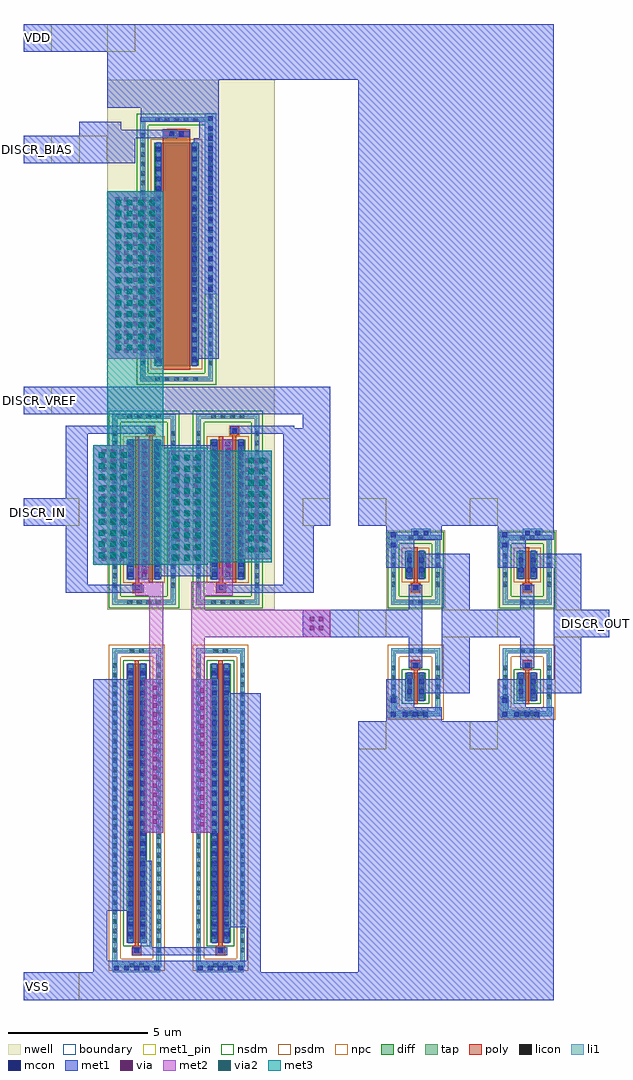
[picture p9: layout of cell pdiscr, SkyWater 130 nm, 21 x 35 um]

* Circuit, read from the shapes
.subckt pdiscr DISCR_BIAS DISCR_IN DISCR_OUT DISCR_VREF VDD VSS
XM1 n1 n1 VSS VSS sky130_fd_pr__nfet_01v8 w=10 l=0.15
XM2 VSS n1 amp_p_2/AMP_OUT VSS sky130_fd_pr__nfet_01v8 w=10 l=0.15
XM3 inv_x1_0/INV_IN amp_p_2/AMP_OUT VSS VSS sky130_fd_pr__nfet_01v8 w=1 l=0.15
XM4 DISCR_OUT inv_x1_0/INV_IN VSS VSS sky130_fd_pr__nfet_01v8 w=1 l=0.15
XM5 n1 DISCR_IN n2 VDD sky130_fd_pr__pfet_01v8 w=5 l=0.15 m=2
XM6 VDD DISCR_BIAS n2 VDD sky130_fd_pr__pfet_01v8 w=8 l=1
XM7 amp_p_2/AMP_OUT DISCR_VREF n2 VDD sky130_fd_pr__pfet_01v8 w=5 l=0.15 m=2
XM8 inv_x1_0/INV_IN amp_p_2/AMP_OUT VDD VDD sky130_fd_pr__pfet_01v8 w=1 l=0.15
XM9 DISCR_OUT inv_x1_0/INV_IN VDD VDD sky130_fd_pr__pfet_01v8 w=1 l=0.15
.ends

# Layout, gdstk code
import gdstk
lib = gdstk.Library(unit=1e-6, precision=1e-09)
def R(c, l, rs):  # rectangles x0, y0, x1, y1
    for r in rs: c.add(gdstk.rectangle(r[:2], r[2:], *l))
def A(c, l, x, y, w, h, nx, ny, dx, dy):  # array of equal rectangles
    R(c, l, [(x+i*dx, y+j*dy, x+i*dx+w, y+j*dy+h) for i in range(nx) for j in range(ny)])
nwell = (64, 20)
diff = (65, 20)
tap = (65, 44)
poly = (66, 20)
licon = (66, 44)
li1 = (67, 20)
mcon = (67, 44)
met1_pin = (68, 16)
met1 = (68, 20)
via = (68, 44)
met2 = (69, 20)
via2 = (69, 44)
met3 = (70, 20)
nsdm = (93, 44)
psdm = (94, 20)
npc = (95, 20)
boundary = (235, 4)

sky130_fd_pr__nfet_01v8_ = lib.new_cell('sky130_fd_pr__nfet_01v8_64Z3AY')
R(sky130_fd_pr__nfet_01v8_, diff, [(-0.365,-0.655,0.365,0.345)])
R(sky130_fd_pr__nfet_01v8_, tap, [(-0.875,-1.215,0.875,-1.045), (-0.875,-1.045,-0.705,1.045), (0.705,-1.045,0.875,1.045), (-0.875,1.045,0.875,1.215)])
R(sky130_fd_pr__nfet_01v8_, poly, [(-0.075,-0.785,0.075,0.455), (-0.165,0.455,0.165,0.785)])
A(sky130_fd_pr__nfet_01v8_, licon, -0.875, -0.595, 0.17, 0.17, 1, 4, 0, 0.34)
A(sky130_fd_pr__nfet_01v8_, licon, 0.705, -0.595, 0.17, 0.17, 1, 4, 0, 0.34)
A(sky130_fd_pr__nfet_01v8_, licon, -0.305, -0.58, 0.17, 0.17, 1, 3, 0, 0.34)
A(sky130_fd_pr__nfet_01v8_, licon, 0.135, -0.58, 0.17, 0.17, 1, 3, 0, 0.34)
R(sky130_fd_pr__nfet_01v8_, licon, [(-0.255,-1.215,-0.085,-1.045), (0.085,-1.215,0.255,-1.045), (-0.085,0.535,0.085,0.705), (-0.255,1.045,-0.085,1.215), (0.085,1.045,0.255,1.215)])
R(sky130_fd_pr__nfet_01v8_, li1, [(-0.875,-1.215,0.875,-1.045), (-0.875,-1.045,-0.705,1.045), (0.705,-1.045,0.875,1.045), (-0.305,-0.675,-0.135,0.365), (0.135,-0.675,0.305,0.365), (-0.165,0.535,0.165,0.705), (-0.875,1.045,0.875,1.215)])
R(sky130_fd_pr__nfet_01v8_, mcon, [(-0.305,-0.42,-0.135,-0.25), (0.135,-0.42,0.305,-0.25), (-0.305,-0.06,-0.135,0.11), (0.135,-0.06,0.305,0.11), (-0.085,0.535,0.085,0.705)])
R(sky130_fd_pr__nfet_01v8_, met1, [(-0.335,-0.655,-0.105,0.345), (0.105,-0.655,0.335,0.345), (-0.145,0.505,0.145,0.735)])
R(sky130_fd_pr__nfet_01v8_, nsdm, [(-0.49,-0.78,0.49,0.47)])
R(sky130_fd_pr__nfet_01v8_, psdm, [(-1,-1.34,1,-0.92), (-1,-0.92,-0.58,0.92), (0.58,-0.92,1,0.92), (-1,0.92,1,1.34)])
R(sky130_fd_pr__nfet_01v8_, npc, [(-0.185,0.435,0.185,0.805)])
R(sky130_fd_pr__nfet_01v8_, boundary, [(-0.79,-1.13,0.79,1.13)])

sky130_fd_pr__pfet_01v8_ = lib.new_cell('sky130_fd_pr__pfet_01v8_LGS3BL')
R(sky130_fd_pr__pfet_01v8_, nwell, [(-1.055,-1.42,1.055,1.42)])
R(sky130_fd_pr__pfet_01v8_, diff, [(-0.365,-0.32,0.365,0.68)])
R(sky130_fd_pr__pfet_01v8_, tap, [(-0.875,-1.24,0.875,-1.07), (-0.875,-1.07,-0.705,1.07), (0.705,-1.07,0.875,1.07), (-0.875,1.07,0.875,1.24)])
R(sky130_fd_pr__pfet_01v8_, poly, [(-0.165,-0.805,0.165,-0.475), (-0.075,-0.475,0.075,0.81)])
A(sky130_fd_pr__pfet_01v8_, licon, -0.875, -0.595, 0.17, 0.17, 1, 4, 0, 0.34)
A(sky130_fd_pr__pfet_01v8_, licon, 0.705, -0.595, 0.17, 0.17, 1, 4, 0, 0.34)
A(sky130_fd_pr__pfet_01v8_, licon, -0.305, -0.245, 0.17, 0.17, 1, 3, 0, 0.34)
A(sky130_fd_pr__pfet_01v8_, licon, 0.135, -0.245, 0.17, 0.17, 1, 3, 0, 0.34)
R(sky130_fd_pr__pfet_01v8_, licon, [(-0.255,-1.24,-0.085,-1.07), (0.085,-1.24,0.255,-1.07), (-0.085,-0.725,0.085,-0.555), (-0.255,1.07,-0.085,1.24), (0.085,1.07,0.255,1.24)])
R(sky130_fd_pr__pfet_01v8_, li1, [(-0.875,-1.24,0.875,-1.07), (-0.875,-1.07,-0.705,1.07), (0.705,-1.07,0.875,1.07), (-0.165,-0.725,0.165,-0.555), (-0.305,-0.34,-0.135,0.7), (0.135,-0.34,0.305,0.7), (-0.875,1.07,0.875,1.24)])
R(sky130_fd_pr__pfet_01v8_, mcon, [(-0.085,-0.725,0.085,-0.555), (-0.305,-0.085,-0.135,0.085), (0.135,-0.085,0.305,0.085), (-0.305,0.275,-0.135,0.445), (0.135,0.275,0.305,0.445)])
R(sky130_fd_pr__pfet_01v8_, met1, [(-0.145,-0.755,0.145,-0.525), (-0.335,-0.32,-0.105,0.68), (0.105,-0.32,0.335,0.68)])
R(sky130_fd_pr__pfet_01v8_, nsdm, [(-1,-1.365,1,-0.945), (-1,-0.945,-0.58,0.945), (0.58,-0.945,1,0.945), (-1,0.945,1,1.365)])
R(sky130_fd_pr__pfet_01v8_, psdm, [(-0.49,-0.445,0.49,0.805)])
R(sky130_fd_pr__pfet_01v8_, npc, [(-0.185,-0.825,0.185,-0.455)])
R(sky130_fd_pr__pfet_01v8_, boundary, [(-0.79,-1.155,0.79,1.155)])

inv_x1 = lib.new_cell('inv_x1')
R(inv_x1, li1, [(2.1,-5.9,3.5,-5.6), (2.1,-5.6,2.4,-5.1), (2.1,0.2,2.4,0.8), (2.9,0.6,3.6,0.9)])
A(inv_x1, mcon, 2.6, -5.835, 0.17, 0.17, 3, 1, 0.36, 0)
R(inv_x1, mcon, [(2.165,-5.835,2.335,-5.665), (2.165,-5.34,2.335,-5.17), (2.165,0.235,2.335,0.405), (2.165,0.595,2.335,0.765), (2.985,0.665,3.155,0.835), (3.345,0.665,3.515,0.835)])
A(inv_x1, met1_pin, 1, -7, 1, 1, 1, 3, 0, 4)
R(inv_x1, met1_pin, [(4,-3,5,-2)])
R(inv_x1, met1, [(1,-7,4,-6), (2,-6,4,-5.5), (2,-5.5,3,-4.5), (3.2,-5,5,-4.5), (4,-4.5,5,-0.5), (2.8,-4.1,3.3,-3), (1,-3,3.3,-2), (2.8,-2,3.3,-1.1), (2,-0.5,3,0.5), (3.2,-0.5,5,0), (2,0.5,4,1), (1,1,4,2)])
inv_x1.add(gdstk.Reference(sky130_fd_pr__nfet_01v8_, (3.055,-4.605)))
inv_x1.add(gdstk.Reference(sky130_fd_pr__pfet_01v8_, (3.055,-0.58)))
inv_x1.add(gdstk.Label('VDD', (1.5,1.5), layer=68, texttype=5))
inv_x1.add(gdstk.Label('VSS', (1.5,-6.5), layer=68, texttype=5))
inv_x1.add(gdstk.Label('INV_OUT', (4.5,-2.5), layer=68, texttype=5))
inv_x1.add(gdstk.Label('INV_IN', (1.5,-2.5), layer=68, texttype=5))

c_sky130_fd_pr__pfet_01v8_ = lib.new_cell('sky130_fd_pr__pfet_01v8_MGEV6J')
R(c_sky130_fd_pr__pfet_01v8_, nwell, [(-1.315,-3.595,1.315,3.595)])
R(c_sky130_fd_pr__pfet_01v8_, diff, [(-0.625,-2.5,0.625,2.5)])
R(c_sky130_fd_pr__pfet_01v8_, tap, [(-1.135,-3.415,1.135,-3.245), (-1.135,-3.245,-0.965,3.245), (0.965,-3.245,1.135,3.245), (-1.135,3.245,1.135,3.415)])
R(c_sky130_fd_pr__pfet_01v8_, poly, [(-0.405,-2.985,-0.075,-2.655), (-0.315,-2.655,-0.165,2.63), (0.165,-2.63,0.315,2.655), (0.075,2.655,0.405,2.985)])
A(c_sky130_fd_pr__pfet_01v8_, licon, -0.595, -3.415, 0.17, 0.17, 4, 2, 0.34, 6.66)
A(c_sky130_fd_pr__pfet_01v8_, licon, -1.135, -2.805, 0.17, 0.17, 1, 17, 0, 0.34)
A(c_sky130_fd_pr__pfet_01v8_, licon, 0.965, -2.805, 0.17, 0.17, 1, 17, 0, 0.34)
A(c_sky130_fd_pr__pfet_01v8_, licon, -0.565, -2.295, 0.17, 0.17, 3, 14, 0.48, 0.34)
R(c_sky130_fd_pr__pfet_01v8_, licon, [(-0.325,-2.905,-0.155,-2.735), (0.155,2.735,0.325,2.905)])
A(c_sky130_fd_pr__pfet_01v8_, li1, -0.565, -2.52, 0.17, 5.04, 3, 1, 0.48, 0)
R(c_sky130_fd_pr__pfet_01v8_, li1, [(-1.135,-3.415,1.135,-3.245), (-1.135,-3.245,-0.965,3.245), (0.965,-3.245,1.135,3.245), (-0.405,-2.905,-0.075,-2.735), (0.075,2.735,0.405,2.905), (-1.135,3.245,1.135,3.415)])
A(c_sky130_fd_pr__pfet_01v8_, mcon, -0.565, -2.425, 0.17, 0.17, 3, 14, 0.48, 0.36)
R(c_sky130_fd_pr__pfet_01v8_, mcon, [(-0.325,-2.905,-0.155,-2.735), (0.155,2.735,0.325,2.905)])
A(c_sky130_fd_pr__pfet_01v8_, met1, -0.595, -2.5, 0.23, 5, 3, 1, 0.48, 0)
R(c_sky130_fd_pr__pfet_01v8_, met1, [(-0.385,-2.935,-0.095,-2.705), (0.095,2.705,0.385,2.935)])
R(c_sky130_fd_pr__pfet_01v8_, nsdm, [(-1.26,-3.54,1.26,-3.12), (-1.26,-3.12,-0.84,3.12), (0.84,-3.12,1.26,3.12), (-1.26,3.12,1.26,3.54)])
R(c_sky130_fd_pr__pfet_01v8_, psdm, [(-0.75,-2.625,0.75,2.625)])
R(c_sky130_fd_pr__pfet_01v8_, npc, [(-0.425,-3.005,-0.055,-2.635), (0.055,2.635,0.425,3.005)])
R(c_sky130_fd_pr__pfet_01v8_, boundary, [(-1.05,-3.33,1.05,3.33)])

c_sky130_fd_pr__nfet_01v8_ = lib.new_cell('sky130_fd_pr__nfet_01v8_A5WNKR')
R(c_sky130_fd_pr__nfet_01v8_, diff, [(-0.365,-4.845,0.365,5.155)])
R(c_sky130_fd_pr__nfet_01v8_, tap, [(-0.875,-5.715,0.875,-5.545), (-0.875,-5.545,-0.705,5.545), (0.705,-5.545,0.875,5.545), (-0.875,5.545,0.875,5.715)])
R(c_sky130_fd_pr__nfet_01v8_, poly, [(-0.165,-5.285,0.165,-4.955), (-0.075,-4.955,0.075,5.285)])
A(c_sky130_fd_pr__nfet_01v8_, licon, -0.875, -5.185, 0.17, 0.17, 1, 31, 0, 0.34)
A(c_sky130_fd_pr__nfet_01v8_, licon, 0.705, -5.185, 0.17, 0.17, 1, 31, 0, 0.34)
A(c_sky130_fd_pr__nfet_01v8_, licon, -0.305, -4.69, 0.17, 0.17, 1, 29, 0, 0.34)
A(c_sky130_fd_pr__nfet_01v8_, licon, 0.135, -4.69, 0.17, 0.17, 1, 29, 0, 0.34)
R(c_sky130_fd_pr__nfet_01v8_, licon, [(-0.255,-5.715,-0.085,-5.545), (0.085,-5.715,0.255,-5.545), (-0.085,-5.205,0.085,-5.035), (-0.255,5.545,-0.085,5.715), (0.085,5.545,0.255,5.715)])
R(c_sky130_fd_pr__nfet_01v8_, li1, [(-0.875,-5.715,0.875,-5.545), (-0.875,-5.545,-0.705,5.545), (0.705,-5.545,0.875,5.545), (-0.165,-5.205,0.165,-5.035), (-0.305,-4.865,-0.135,5.175), (0.135,-4.865,0.305,5.175), (-0.875,5.545,0.875,5.715)])
A(c_sky130_fd_pr__nfet_01v8_, mcon, -0.305, -4.61, 0.17, 0.17, 1, 27, 0, 0.36)
A(c_sky130_fd_pr__nfet_01v8_, mcon, 0.135, -4.61, 0.17, 0.17, 1, 27, 0, 0.36)
R(c_sky130_fd_pr__nfet_01v8_, mcon, [(-0.085,-5.205,0.085,-5.035)])
R(c_sky130_fd_pr__nfet_01v8_, met1, [(-0.145,-5.235,0.145,-5.005), (-0.335,-4.845,-0.105,5.155), (0.105,-4.845,0.335,5.155)])
R(c_sky130_fd_pr__nfet_01v8_, nsdm, [(-0.49,-4.97,0.49,5.28)])
R(c_sky130_fd_pr__nfet_01v8_, psdm, [(-1,-5.84,1,-5.42), (-1,-5.42,-0.58,5.42), (0.58,-5.42,1,5.42), (-1,5.42,1,5.84)])
R(c_sky130_fd_pr__nfet_01v8_, npc, [(-0.185,-5.305,0.185,-4.935)])
R(c_sky130_fd_pr__nfet_01v8_, boundary, [(-0.79,-5.63,0.79,5.63)])

c_sky130_fd_pr__pfet_01v8__ = lib.new_cell('sky130_fd_pr__pfet_01v8_SB2EVP')
R(c_sky130_fd_pr__pfet_01v8__, nwell, [(-1.48,-4.92,1.48,4.92)])
R(c_sky130_fd_pr__pfet_01v8__, diff, [(-0.79,-4.18,0.79,3.82)])
R(c_sky130_fd_pr__pfet_01v8__, tap, [(-1.3,-4.74,1.3,-4.57), (-1.3,-4.57,-1.13,4.57), (1.13,-4.57,1.3,4.57), (-1.3,4.57,1.3,4.74)])
R(c_sky130_fd_pr__pfet_01v8__, poly, [(-0.5,-4.31,0.5,4.305)])
A(c_sky130_fd_pr__pfet_01v8__, licon, -0.765, -4.74, 0.17, 0.17, 5, 2, 0.34, 9.31)
A(c_sky130_fd_pr__pfet_01v8__, licon, -1.3, -4.165, 0.17, 0.17, 1, 25, 0, 0.34)
A(c_sky130_fd_pr__pfet_01v8__, licon, 1.13, -4.165, 0.17, 0.17, 1, 25, 0, 0.34)
A(c_sky130_fd_pr__pfet_01v8__, licon, -0.73, -4.005, 0.17, 0.17, 1, 23, 0, 0.34)
A(c_sky130_fd_pr__pfet_01v8__, licon, 0.56, -4.005, 0.17, 0.17, 1, 23, 0, 0.34)
R(c_sky130_fd_pr__pfet_01v8__, licon, [(-0.255,4.055,-0.085,4.225), (0.085,4.055,0.255,4.225)])
R(c_sky130_fd_pr__pfet_01v8__, li1, [(-1.3,-4.74,1.3,-4.57), (-1.3,-4.57,-1.13,4.57), (1.13,-4.57,1.3,-1.62), (-0.73,-4.2,-0.56,3.84), (0.56,-4.2,0.73,3.84), (1.02,-1.62,1.42,4.57), (-0.5,4.055,0.5,4.225), (-1.3,4.57,1.42,4.74), (1.02,4.74,1.42,4.88)])
A(c_sky130_fd_pr__pfet_01v8__, mcon, -0.73, -4.045, 0.17, 0.17, 1, 22, 0, 0.36)
A(c_sky130_fd_pr__pfet_01v8__, mcon, 0.56, -4.045, 0.17, 0.17, 1, 22, 0, 0.36)
A(c_sky130_fd_pr__pfet_01v8__, mcon, 1.135, -1.515, 0.17, 0.17, 1, 18, 0, 0.36)
R(c_sky130_fd_pr__pfet_01v8__, mcon, [(-0.265,4.055,-0.095,4.225), (0.095,4.055,0.265,4.225)])
R(c_sky130_fd_pr__pfet_01v8__, met1, [(-1.28,-20.92,-0.48,-15.42), (0.52,-20.92,1.52,-15.42), (-0.76,-4.18,-0.53,-3.82), (0.53,-4.18,0.76,-3.92), (0.53,-3.92,1.42,3.82), (-2.38,-3.82,-0.53,1.98), (-0.76,1.98,-0.53,3.82), (0.62,3.82,1.42,3.98), (-2.88,3.98,0.02,4.025), (0.82,3.98,1.42,6.28), (-2.88,4.025,0.48,4.255), (-2.88,4.255,0.02,4.28)])
A(c_sky130_fd_pr__pfet_01v8__, via, 0.845, -20.695, 0.15, 0.15, 1, 16, 0, 0.32)
A(c_sky130_fd_pr__pfet_01v8__, via, -0.855, -20.595, 0.15, 0.15, 1, 16, 0, 0.32)
A(c_sky130_fd_pr__pfet_01v8__, via, -2.195, -3.715, 0.15, 0.15, 5, 18, 0.32, 0.32)
R(c_sky130_fd_pr__pfet_01v8__, met2, [(-1.18,-20.92,-0.48,-15.42), (0.52,-20.92,1.22,-15.42), (-0.98,-15.42,-0.48,-12.42), (0.52,-15.42,1.02,-12.42), (-1.48,-12.42,-0.48,-11.92), (0.52,-12.42,2.02,-11.92), (-1.48,-11.92,-0.98,-11.42), (1.52,-11.92,2.02,-11.42), (-2.38,-3.82,-0.58,1.98)])
A(c_sky130_fd_pr__pfet_01v8__, via2, -2.18, -3.62, 0.2, 0.2, 4, 14, 0.4, 0.4)
R(c_sky130_fd_pr__pfet_01v8__, met3, [(-2.38,-3.82,-0.58,1.98)])
R(c_sky130_fd_pr__pfet_01v8__, nsdm, [(-1.425,-4.865,1.425,-4.445), (-1.425,-4.445,-1.005,4.445), (1.005,-4.445,1.425,4.445), (-1.425,4.445,1.425,4.865)])
R(c_sky130_fd_pr__pfet_01v8__, psdm, [(-0.915,-4.305,0.915,3.945)])
R(c_sky130_fd_pr__pfet_01v8__, npc, [(-0.355,3.955,0.355,4.325)])
R(c_sky130_fd_pr__pfet_01v8__, boundary, [(-1.215,-4.655,1.215,4.655)])

amp_p = lib.new_cell('amp_p')
R(amp_p, nwell, [(5,-3,11,16)])
R(amp_p, li1, [(5.2,-16,6.9,-15.7), (8.2,-16,9.9,-15.7)])
A(amp_p, mcon, 5.245, -15.935, 0.17, 0.17, 5, 1, 0.36, 0)
A(amp_p, mcon, 8.245, -15.935, 0.17, 0.17, 5, 1, 0.36, 0)
R(amp_p, met1_pin, [(3,-17,4,-16), (12,-4,13,-3), (3,0,4,1), (12,0,13,1), (4,13,5,14), (5,17,6,18)])
R(amp_p, met1, [(3,-17,10.5,-16), (4.5,-16,10.5,-15.6), (4.5,-15.6,5,-13.8), (10,-15.6,10.5,-14.4), (5.9,-15.4,9.3,-15.1), (6.2,-15.1,6.6,-12), (9.3,-14.4,10.5,-6), (4.5,-13.8,5.8,-5.5), (12,-4,13,-3), (3.5,-2.4,6.3,-2.1), (8.9,-2.4,12.4,-2.1), (3.5,-2.1,4.3,0), (11.3,-2.1,12.4,0), (6.1,-1.9,6.5,3.1), (6.8,-1.8,8.9,2.9), (9.1,-1.8,9.5,3.1), (4.5,-1.4,5.9,2.9), (9.8,-1.2,10.9,2.7), (3,0,4.3,1), (11.3,0,13,1), (3.5,1,4.3,3.3), (11.3,1,12.4,3.3), (3.5,3.3,6.7,3.6), (9.4,3.3,12.4,3.5), (9.4,3.5,11.7,3.6), (5,6,7,12), (8.5,6,9,14.5), (4,13,6,14), (4,14,5.5,14.5), (6.2,14.5,9,15), (5,15,9,18)])
A(amp_p, via, 6.275, -1.715, 0.15, 0.15, 1, 15, 0, 0.32)
A(amp_p, via, 9.275, -1.505, 0.15, 0.15, 1, 14, 0, 0.32)
A(amp_p, via, 4.805, -1.245, 0.15, 0.15, 3, 13, 0.32, 0.32)
A(amp_p, via, 7.455, -1.185, 0.15, 0.15, 3, 12, 0.32, 0.32)
A(amp_p, via, 9.955, -0.925, 0.15, 0.15, 3, 11, 0.32, 0.32)
R(amp_p, via, [(12.265,-3.735,12.415,-3.585), (12.585,-3.735,12.735,-3.585), (12.265,-3.415,12.415,-3.265), (12.585,-3.415,12.735,-3.265)])
R(amp_p, met2, [(8,-4,13,-3), (6.1,-1.9,6.5,3.1), (9.1,-1.8,9.5,3.1), (4.5,-1.4,5.9,2.9), (7.2,-1.4,8.5,2.7), (9.8,-1.2,10.9,2.7), (5,6,7,12)])
A(amp_p, via2, 7.35, -1.25, 0.2, 0.2, 3, 10, 0.4, 0.4)
A(amp_p, via2, 4.7, -1.15, 0.2, 0.2, 3, 10, 0.4, 0.4)
A(amp_p, via2, 10.05, -0.95, 0.2, 0.2, 1, 9, 0, 0.4)
A(amp_p, via2, 10.45, -0.95, 0.2, 0.2, 1, 9, 0, 0.4)
R(amp_p, met3, [(4.5,-1.4,8.6,-1.3), (4.5,-1.3,10.9,2.7), (4.5,2.7,8.6,2.8), (4.5,2.8,7,2.9), (5,2.9,7,12)])
amp_p.add(gdstk.Reference(c_sky130_fd_pr__pfet_01v8_, (6.315,0.595)))
amp_p.add(gdstk.Reference(c_sky130_fd_pr__nfet_01v8_, (6.055,-10.105)))
amp_p.add(gdstk.Reference(c_sky130_fd_pr__pfet_01v8__, (7.48,9.92)))
amp_p.add(gdstk.Reference(c_sky130_fd_pr__pfet_01v8_, (9.315,0.595)))
amp_p.add(gdstk.Reference(c_sky130_fd_pr__nfet_01v8_, (9.055,-10.105)))
amp_p.add(gdstk.Label('VDD', (5.5,17.5), layer=68, texttype=5))
amp_p.add(gdstk.Label('VSS', (3.5,-16.5), layer=68, texttype=5))
amp_p.add(gdstk.Label('AMP_OUT', (12.5,-3.5), layer=68, texttype=5))
amp_p.add(gdstk.Label('AMP_P', (3.5,0.5), layer=68, texttype=5))
amp_p.add(gdstk.Label('AMP_N', (12.5,0.5), layer=68, texttype=5))
amp_p.add(gdstk.Label('PBIAS', (4.5,13.5), layer=68, texttype=5))

pdiscr = lib.new_cell('pdiscr')
R(pdiscr, met1_pin, [(4,-15,5,-14), (24,-2,25,-1), (4,2,5,3), (4,6,5,7), (4,15,5,16), (4,19,5,20)])
R(pdiscr, met1, [(4,-15,5,-14), (12,-15,23,-14), (16,-14,23,-5), (14,-2,16,-1), (24,-2,25,-1), (4,2,5,3), (16,2,23,18), (14,3,15,6), (4,6,15,7), (4,15,6,16), (10,18,23,20), (4,19,7,20)])
pdiscr.add(gdstk.Reference(inv_x1, (19,1)))
pdiscr.add(gdstk.Reference(inv_x1, (15,1)))
pdiscr.add(gdstk.Reference(amp_p, (2,2)))
pdiscr.add(gdstk.Label('VDD', (4.5,19.5), layer=68, texttype=5))
pdiscr.add(gdstk.Label('VSS', (4.5,-14.5), layer=68, texttype=5))
pdiscr.add(gdstk.Label('DISCR_BIAS', (4.5,15.5), layer=68, texttype=5))
pdiscr.add(gdstk.Label('DISCR_IN', (4.5,2.5), layer=68, texttype=5))
pdiscr.add(gdstk.Label('DISCR_OUT', (24.5,-1.5), layer=68, texttype=5))
pdiscr.add(gdstk.Label('DISCR_VREF', (4.5,6.5), layer=68, texttype=5))

lib.write_gds('pdiscr.gds')
